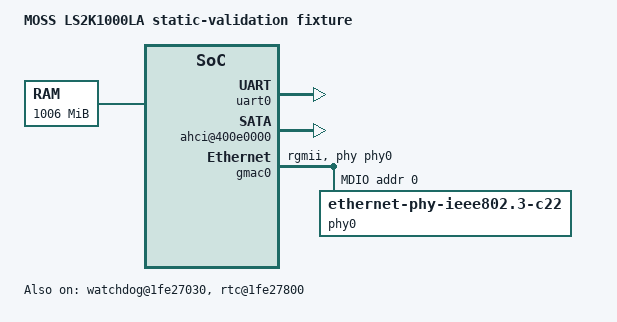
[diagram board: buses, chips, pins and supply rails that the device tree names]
/dts-v1/;

/ {
    model = "MOSS LS2K1000LA static-validation fixture";
    compatible = "loongson,ls2k";
    #address-cells = <2>;
    #size-cells = <2>;

    aliases {
        serial0 = &uart0;
        ethernet0 = &gmac0;
    };

    chosen {
        stdout-path = "serial0:115200n8";
        bootargs = "earlycon root=PARTLABEL=moss-root rw";
    };

    reboot {
        compatible = "syscon-reboot";
        regmap = <&syscon>;
        offset = <0x30>;
        mask = <1>;
    };

    poweroff {
        compatible = "syscon-poweroff";
        regmap = <&syscon>;
        offset = <0x14>;
        mask = <0x3c00>;
        value = <0x3c00>;
    };

    gmac_axi: stmmac-axi-config {
        snps,wr_osr_lmt = <1>;
        snps,rd_osr_lmt = <2>;
        snps,blen = <4 8 16 32 0 0 0>;
    };

    memory@200000 {
        device_type = "memory";
        reg = <0 0x00200000 0 0x0ee00000>,
              <0 0x90000000 0 0x30000000>;
    };

    cpus {
        #address-cells = <1>;
        #size-cells = <0>;

        cpu@0 {
            device_type = "cpu";
            compatible = "loongarch";
            reg = <0>;
        };

        cpu@1 {
            device_type = "cpu";
            compatible = "loongarch";
            reg = <1>;
        };

        cpu@2 {
            device_type = "cpu";
            compatible = "loongarch";
            reg = <2>;
            status = "disabled";
        };
    };

    cpu_intc: interrupt-controller {
        compatible = "loongson,cpu-interrupt-controller";
        interrupt-controller;
        #interrupt-cells = <1>;
    };

    clk: clock-controller {
        compatible = "loongson,ls2k1000-clk";
        #clock-cells = <1>;
    };

    liointc: interrupt-controller@1fe01400 {
        compatible = "loongson,2k1000-icu";
        interrupt-controller;
        #interrupt-cells = <1>;
        reg = <0 0x1fe01400 0 0x40>,
              <0 0x1fe01040 0 0x10>;
        interrupt-parent = <&cpu_intc>;
        interrupts = <3>;
    };

    soc {
        compatible = "simple-bus";
        #address-cells = <2>;
        #size-cells = <2>;
        ranges;
        dma-coherent;

        uart0: serial@1fe20000 {
            compatible = "ns16550a";
            reg = <0 0x1fe20000 0 0x10>;
            reg-io-width = <1>;
            reg-shift = <0>;
            clock-frequency = <100000000>;
            interrupt-parent = <&liointc>;
            interrupts = <0>;
            status = "okay";
        };

        syscon: syscon@1fe27000 {
            compatible = "syscon";
            reg = <0 0x1fe27000 0 0x58>;
        };

        watchdog@1fe27030 {
            compatible = "loongson,ls2x-wdt";
            reg = <0 0x1fe27030 0 0xc>;
            clocks = <&clk 12>;
            clock-names = "wdt-clk";
            status = "okay";
        };

        ahci@400e0000 {
            compatible = "snps,spear-ahci";
            reg = <0 0x400e0000 0 0x10000>;
            interrupt-parent = <&liointc>;
            interrupts = <19>;
            dma-mask = <0 0xffffffff>;
            ports-implemented = <1>;
            status = "okay";
        };

        rtc@1fe27800 {
            compatible = "loongson,ls2k-rtc";
            reg = <0 0x1fe27800 0 0x100>;
            interrupt-parent = <&liointc>;
            interrupts = <20>;
            status = "okay";
        };

        gmac0: ethernet@40040000 {
            compatible = "snps,dwmac-3.70a", "ls,ls-gmac";
            reg = <0 0x40040000 0 0x8000>;
            interrupt-parent = <&liointc>;
            interrupts = <12>;
            phy-mode = "rgmii";
            phy-handle = <&phy0>;
            local-mac-address = [02 4d 4f 53 53 00];
            dma-mask = <0 0xffffffff>;
            snps,pbl = <8>;
            snps,txpbl = <16>;
            snps,rxpbl = <8>;
            snps,mixed-burst;
            snps,axi-config = <&gmac_axi>;
            status = "okay";

            mdio {
                #address-cells = <1>;
                #size-cells = <0>;

                phy0: ethernet-phy@0 {
                    compatible = "ethernet-phy-ieee802.3-c22";
                    reg = <0>;
                };
            };
        };

        ethernet@40050000 {
            compatible = "snps,dwmac-3.70a";
            reg = <0 0x40050000 0 0x8000>;
            status = "disabled";
        };
    };
};
